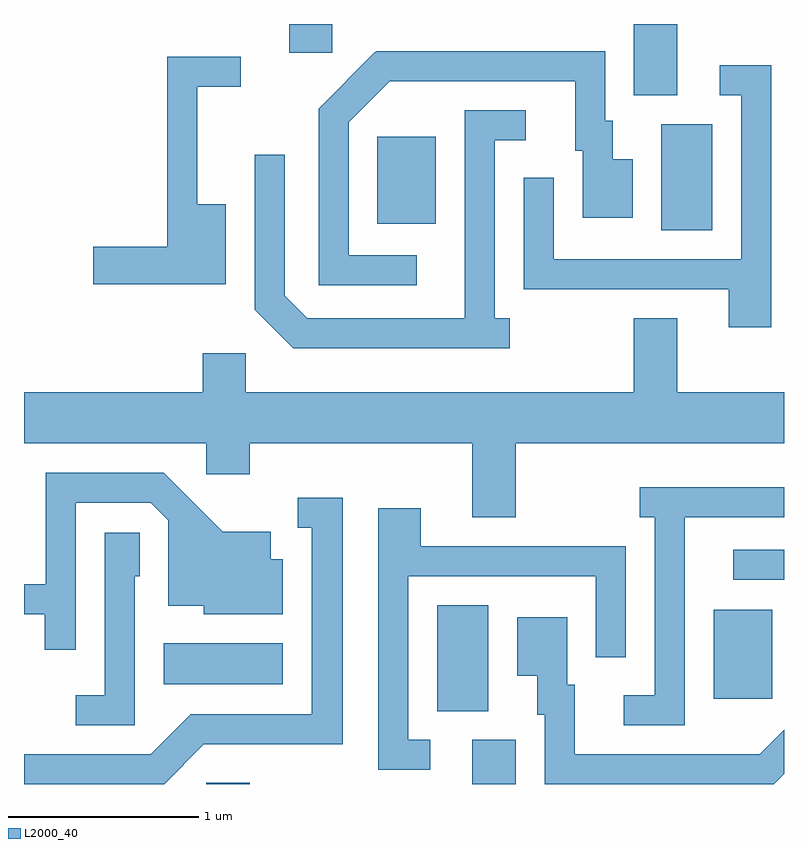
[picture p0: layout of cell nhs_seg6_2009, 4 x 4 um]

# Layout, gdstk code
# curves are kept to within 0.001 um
import gdstk
lib = gdstk.Library(unit=1e-6, precision=1e-09)
def R(c, l, rs):  # rectangles x0, y0, x1, y1
    for r in rs: c.add(gdstk.rectangle(r[:2], r[2:], *l))
def P(c, l, *ps):  # polygons
    for p in ps: c.add(gdstk.Polygon(p, *l))
L2000_40 = (2000, 40)

nhs_seg6_2009 = lib.new_cell('nhs_seg6_2009')
R(nhs_seg6_2009, L2000_40, [(246.571,1628.162,246.799,1628.169), (247.971,1628.162,248.199,1628.394), (247.786,1628.546,248.054,1629.104), (249.241,1628.611,249.549,1629.079), (246.346,1628.686,246.974,1628.904), (249.343,1629.236,249.611,1629.394), (248.966,1631.076,249.234,1631.634), (247.471,1631.111,247.779,1631.569), (248.821,1631.786,249.049,1632.162), (247.006,1632.011,247.234,1632.162)])
P(nhs_seg6_2009, L2000_40, [(247.678,1630.944),(247.319,1630.944),(247.319,1631.644),(247.537,1631.861),(248.511,1631.861),(248.511,1631.496),(248.551,1631.496),(248.551,1631.141),(248.814,1631.141),(248.814,1631.449),(248.709,1631.449),(248.709,1631.654),(248.669,1631.654),(248.669,1632.019),(247.464,1632.019),(247.161,1631.717),(247.161,1630.786),(247.678,1630.786)],
  [(246.674,1631.214),(246.524,1631.214),(246.524,1631.831),(246.753,1631.831),(246.753,1631.989),(246.366,1631.989),(246.366,1630.989),(245.976,1630.989),(245.976,1630.791),(246.674,1630.791)],
  [(249.544,1631.944),(249.273,1631.944),(249.273,1631.786),(249.386,1631.786),(249.386,1630.924),(248.399,1630.924),(248.399,1631.353),(248.241,1631.353),(248.241,1630.766),(249.321,1630.766),(249.321,1630.566),(249.544,1630.566)],
  [(248.168,1630.614),(248.089,1630.614),(248.089,1631.551),(248.253,1631.551),(248.253,1631.709),(247.931,1631.709),(247.931,1630.614),(247.102,1630.614),(246.984,1630.732),(246.984,1631.473),(246.826,1631.473),(246.826,1630.659),(247.029,1630.456),(248.168,1630.456)],
  [(248.199,1629.956),(249.611,1629.956),(249.611,1630.224),(249.049,1630.224),(249.049,1630.614),(248.821,1630.614),(248.821,1630.224),(246.779,1630.224),(246.779,1630.429),(246.551,1630.429),(246.551,1630.224),(245.611,1630.224),(245.611,1629.956),(246.571,1629.956),(246.571,1629.791),(246.799,1629.791),(246.799,1629.956),(247.971,1629.956),(247.971,1629.566),(248.199,1629.566)],
  [(245.884,1629.641),(246.279,1629.641),(246.371,1629.549),(246.371,1629.101),(246.556,1629.101),(246.556,1629.056),(246.974,1629.056),(246.974,1629.344),(246.909,1629.344),(246.909,1629.489),(246.657,1629.489),(246.347,1629.799),(245.726,1629.799),(245.726,1629.214),(245.611,1629.214),(245.611,1629.056),(245.721,1629.056),(245.721,1628.868),(245.884,1628.868)],
  [(249.089,1629.566),(249.611,1629.566),(249.611,1629.724),(248.853,1629.724),(248.853,1629.566),(248.931,1629.566),(248.931,1628.629),(248.768,1628.629),(248.768,1628.471),(249.089,1628.471)],
  [(246.557,1628.371),(247.289,1628.371),(247.289,1629.669),(247.053,1629.669),(247.053,1629.511),(247.126,1629.511),(247.126,1628.529),(246.489,1628.529),(246.279,1628.319),(245.611,1628.319),(245.611,1628.162),(246.348,1628.162)],
  [(247.748,1628.394),(247.634,1628.394),(247.634,1629.256),(248.621,1629.256),(248.621,1628.828),(248.779,1628.828),(248.779,1629.414),(247.699,1629.414),(247.699,1629.614),(247.476,1629.614),(247.476,1628.236),(247.748,1628.236)],
  [(246.194,1629.256),(246.219,1629.256),(246.219,1629.484),(246.036,1629.484),(246.036,1628.629),(245.883,1628.629),(245.883,1628.471),(246.194,1628.471)],
  [(249.611,1628.215),(249.611,1628.447),(249.484,1628.319),(248.509,1628.319),(248.509,1628.684),(248.469,1628.684),(248.469,1629.039),(248.206,1629.039),(248.206,1628.731),(248.311,1628.731),(248.311,1628.526),(248.351,1628.526),(248.351,1628.162),(249.558,1628.162)])

lib.write_gds('nhs_seg6_2009.gds')
